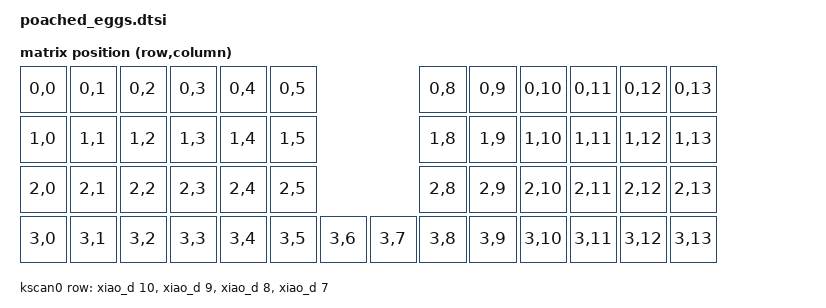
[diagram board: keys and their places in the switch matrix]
#include <dt-bindings/zmk/matrix_transform.h>
#include "./poached_eggs-layouts.dtsi"

/ {
    chosen {
        zmk,kscan = &kscan0;
        zmk,physical-layout = &poached_eggs_physical_layout;
        zmk,matrix-transform = &default_transform;
    };

    default_transform: keymap_transform_0 {
        compatible = "zmk,matrix-transform";
        columns = <14>;
        rows = <4>;

// | L_SW1  | L_SW2  | L_SW3  | L_SW4  | L_SW5  | L_SW6  |                     | R_SW1  | R_SW2  | R_SW3  | R_SW4  | R_SW5  | R_SW6  |
// | L_SW7  | L_SW8  | L_SW9  | L_SW10 | L_SW11 | L_SW12 |                     | R_SW7  | R_SW8  | R_SW9  | R_SW10 | R_SW11 | R_SW12 |
// | L_SW13 | L_SW14 | L_SW15 | L_SW16 | L_SW17 | L_SW18 |                     | R_SW13 | R_SW14 | R_SW15 | R_SW16 | R_SW17 | R_SW18 |
// | L_SW19 | L_SW20 | L_SW21 | L_SW22 | L_SW23 | L_SW24 | L_SW25 |   | R_SW19 | R_SW20 | R_SW21 | R_SW22 | R_SW23 | R_SW24 | R_SW25 |


        map = <
RC(0,0) RC(0,1) RC(0,2) RC(0,3) RC(0,4) RC(0,5)                 RC(0,8) RC(0,9) RC(0,10) RC(0,11) RC(0,12) RC(0,13)
RC(1,0) RC(1,1) RC(1,2) RC(1,3) RC(1,4) RC(1,5)                 RC(1,8) RC(1,9) RC(1,10) RC(1,11) RC(1,12) RC(1,13)
RC(2,0) RC(2,1) RC(2,2) RC(2,3) RC(2,4) RC(2,5)                 RC(2,8) RC(2,9) RC(2,10) RC(2,11) RC(2,12) RC(2,13)
RC(3,0) RC(3,1) RC(3,2) RC(3,3) RC(3,4) RC(3,5) RC(3,6) RC(3,7) RC(3,8) RC(3,9) RC(3,10) RC(3,11) RC(3,12) RC(3,13)
        >;
    };

    kscan0: kscan {
        compatible = "zmk,kscan-gpio-matrix";
        diode-direction = "col2row";
        wakeup-source;

        row-gpios
            = <&xiao_d 10 (GPIO_ACTIVE_HIGH | GPIO_PULL_DOWN)>
            , <&xiao_d 9 (GPIO_ACTIVE_HIGH | GPIO_PULL_DOWN)>
            , <&xiao_d 8 (GPIO_ACTIVE_HIGH | GPIO_PULL_DOWN)>
            , <&xiao_d 7 (GPIO_ACTIVE_HIGH | GPIO_PULL_DOWN)>
            ;
    };
};

&xiao_spi { status = "disabled"; };
&xiao_i2c { status = "disabled"; };
&xiao_serial { status = "disabled"; };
